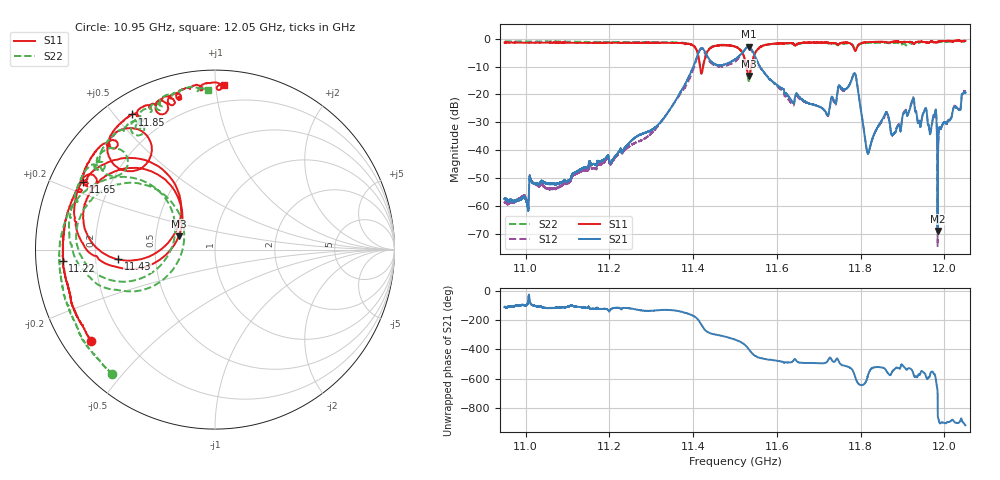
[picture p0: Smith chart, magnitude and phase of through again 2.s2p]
!Agilent Technologies,E8362C,MY49020356,A.09.42.23
!Agilent E8362C: A.09.42.23
!Date: Saturday, September 11, 2021 04:22:58
!Correction: S11(Full 2 Port(1,2))
!S21(Full 2 Port(1,2))
!S12(Full 2 Port(1,2))
!S22(Full 2 Port(1,2))
!S2P File: Measurements: S11, S21, S12, S22:
# Hz S  MA  R 50
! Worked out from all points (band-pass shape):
!   32001 points, 10.95 GHz to 12.05 GHz, reference 50 ohm
!   highest |S21| = -2.81 dB at 11.53 GHz (marker M1); lowest = -69.1 dB at 11.98 GHz (marker M2)
!   |S21| within 3 dB of the highest: 11.41061 GHz to 11.43253 GHz (21.92 MHz wide, 0.192 % of centre); 11.51227 GHz to 11.5461 GHz (33.83 MHz wide, 0.293 % of centre)
!   lowest |S11| = -13.4 dB at 11.53 GHz (marker M3), VSWR 1.55, Z = 33 + j5.17 ohm
!   |S11| at or under -10 dB: 11.41673 GHz to 11.42398 GHz (7.253 MHz wide, 0.0635 % of centre); 11.52759 GHz to 11.53848 GHz (10.89 MHz wide, 0.0944 % of centre)
!   |S22| runs from -15.1 to -0.7 dB; largest |S21 - S12| = 0.045
!   S11 on the Smith chart (normalised r, x): 10.95 GHz: 0.08, -0.33; 11.22 GHz: 0.08, -0.04; 11.43 GHz: 0.30, -0.05; 11.65 GHz: 0.10, +0.24; 11.85 GHz: 0.08, +0.56; 12.05 GHz: 0.09, +1.05
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1.095e10  0.8576 -143.5  0.00134 -110.6  0.001145 -113.7  0.8986 -129.8
1.113336e10  0.8441 -164.4  0.004569 -112.0  0.004168 -118.5  0.8821 -150.5
1.122297e10  0.8501 -175.6  0.009455 -116.3  0.00893 -121.4  0.8785 -162.2
1.131668e10  0.8496 170.6  0.02862 -133.0  0.02747 -127.1  0.8692 -176.6
1.138759e10  0.8156 150.2  0.1934 -155.8  0.1671 -156.5  0.8282 162.1
1.141355e10  0.4494 121.6  0.5852 155.9  0.5677 158.8  0.4456 133.7
1.143187e10  0.5423 -174.3  0.5237 82.7  0.4803 82.9  0.5629 -161.6
1.15e10  0.7243 144.4  0.4275 26.0  0.3911 27.7  0.7281 155.4
1.153259e10  0.2159 155.5  0.7234 -38.1  0.7072 -38.1  0.1775 168.5
1.153303e10  0.2142 159.5  0.7199 -39.7  0.7068 -39.8  0.1774 173.8
1.155662e10  0.6663 -177.0  0.3472 -96.7  0.338 -94.4  0.6907 -164.6
1.165156e10  0.8249 152.7  0.09358 -129.3  0.08707 -124.7  0.8117 160.8
1.168336e10  0.8573 145.0  0.06677 -133.6  0.06717 -131.2  0.8432 154.3
1.172062e10  0.8569 136.6  0.04289 -122.5  0.0415 -123.9  0.837 145.9
1.178456e10  0.6548 122.5  0.2403 152.2  0.2448 153.8  0.6971 134.2
1.181666e10  0.8711 130.1  0.008821 134.5  0.008953 134.2  0.8427 137.6
1.185379e10  0.8828 121.5  0.03776 -167.2  0.0358 -167.6  0.8531 129.5
1.186668e10  0.8593 120.2  0.03906 151.2  0.03713 153.6  0.8345 127.5
1.187874e10  0.8885 118.7  0.01979 178.4  0.01937 -178.1  0.8476 125.6
1.192384e10  0.8485 108.3  0.0809 170.3  0.08496 169.7  0.8383 120.6
1.198366e10  0.8747 104.3  0.0003528 -44.1  0.0001878 -47.7  0.8729 111.5
1.205e10  0.9182 86.7  0.1078 158.9  0.1119 156.7  0.8845 92.2
